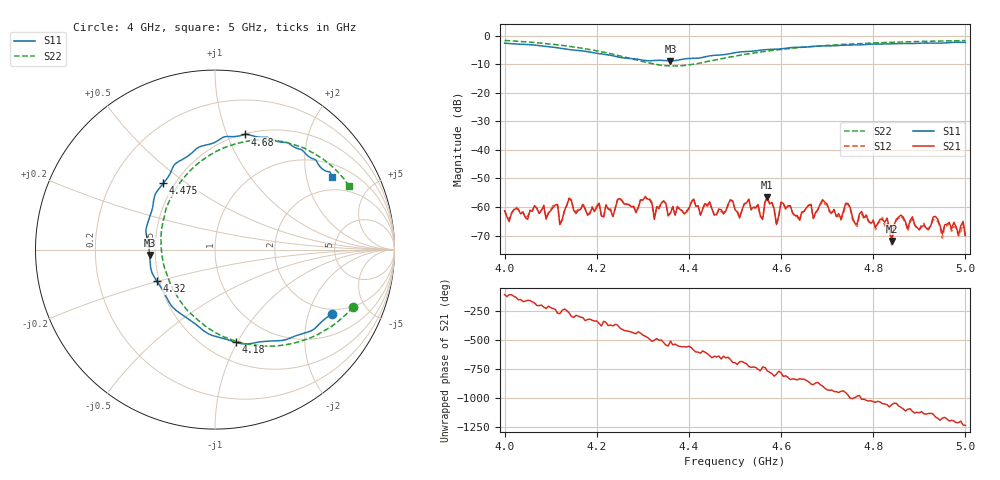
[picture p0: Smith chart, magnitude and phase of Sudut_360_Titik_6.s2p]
# Hz S RI R 50
! CMT, C1220, 16058040, 17.2.0/1
! Date: 15/08/2018 12:15:01
! Data: Format (Calibration Info)
! Freq  S11: Re/Im (F2)  S21: Re/Im (F2)  S12: Re/Im (F2)  S22: Re/Im (F2)
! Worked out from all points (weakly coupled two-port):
!   201 points, 4 GHz to 5 GHz, reference 50 ohm
!   highest |S21| = -56.59 dB at 4.57 GHz (marker M1); lowest = -71.9 dB at 4.84 GHz (marker M2)
!   lowest |S11| = -8.7 dB at 4.36 GHz (marker M3), VSWR 2.15, Z = 23.3 - j1.63 ohm
!   |S11| at or under -10 dB: nowhere
!   |S22| runs from -10.6 to -1.6 dB; largest |S21 - S12| = 0.00012
!   S11 on the Smith chart (normalised r, x): 4 GHz: 1.80, -2.89; 4.18 GHz: 0.69, -0.98; 4.32 GHz: 0.48, -0.20; 4.475 GHz: 0.43, +0.41; 4.68 GHz: 0.51, +1.16; 5 GHz: 1.43, +2.84
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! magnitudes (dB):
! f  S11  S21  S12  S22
! 4 GHz  -2.6  -61.3  -61.1  -1.6
! 4.115 GHz  -4.2  -59.2  -59.2  -3.1
! 4.12 GHz  -4.3  -66.2  -66.3  -3.2
! 4.14 GHz  -4.8  -57.0  -56.9  -3.6
! 4.17 GHz  -5.3  -59.1  -58.9  -4.4
! 4.18 GHz  -5.5  -62.9  -62.3  -4.6
! 4.32 GHz  -8.7  -58.9  -58.6  -9.7
! 4.335 GHz  -8.5  -60.6  -60.0  -10.2
! 4.36 GHz  -8.7  -62.2  -62.0  -10.5
! 4.475 GHz  -6.6  -62.4  -61.9  -7.9
! 4.5 GHz  -5.9  -60.9  -60.8  -7.1
! 4.53 GHz  -5.5  -57.3  -57.3  -6.3
! 4.56 GHz  -4.9  -64.4  -63.9  -5.5
! 4.57 GHz  -4.8  -56.6  -56.8  -5.3
! 4.59 GHz  -4.6  -66.2  -66.3  -4.9
! 4.6 GHz  -4.5  -58.3  -58.6  -4.7
! 4.67 GHz  -3.7  -64.0  -64.0  -3.7
! 4.68 GHz  -3.6  -60.8  -60.8  -3.6
! 4.835 GHz  -2.8  -67.4  -68.0  -2.3
! 4.84 GHz  -2.8  -71.9  -73.7  -2.2
! 4.86 GHz  -2.6  -62.8  -63.3  -2.1
! 5 GHz  -2.3  -70.0  -70.5  -1.6
